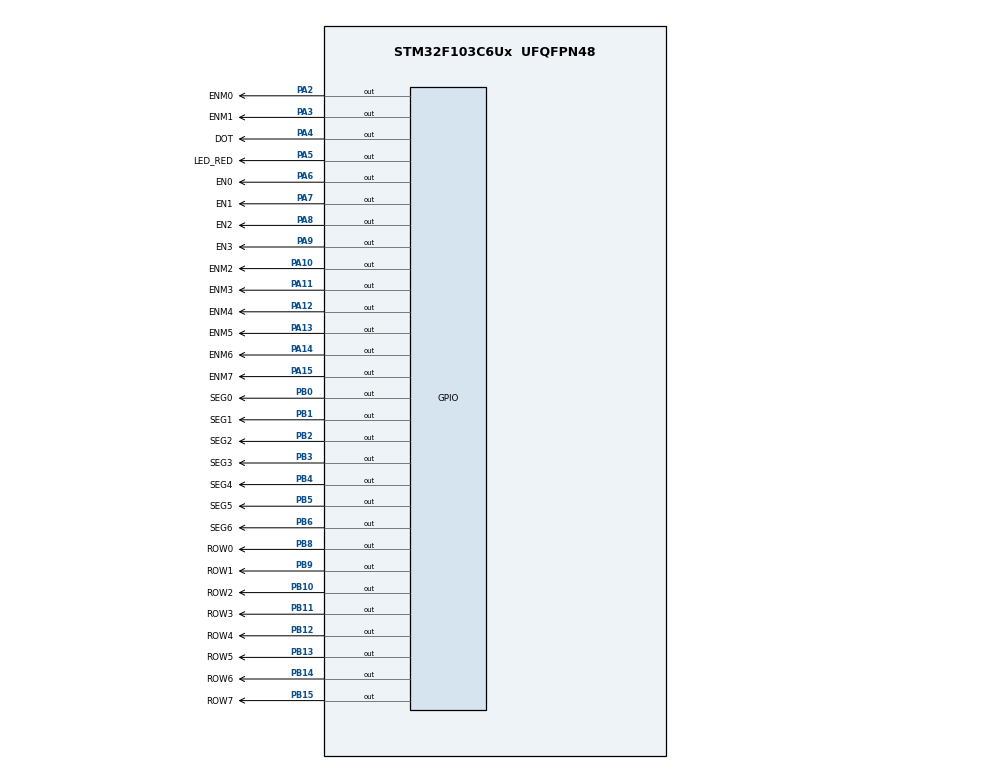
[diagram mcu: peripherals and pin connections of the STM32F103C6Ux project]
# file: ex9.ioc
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Mcu.Family=STM32F1
Mcu.Name=STM32F103C6Ux
Mcu.Package=UFQFPN48
NVIC.PriorityGroup=NVIC_PRIORITYGROUP_4
NVIC.TIM2_IRQn=true\:0\:0\:false\:false\:true\:true\:true
PA10.GPIO_Label=ENM2
PA10.Signal=GPIO_Output
PA11.GPIO_Label=ENM3
PA11.Signal=GPIO_Output
PA12.GPIO_Label=ENM4
PA12.Signal=GPIO_Output
PA13.GPIO_Label=ENM5
PA13.Signal=GPIO_Output
PA14.GPIO_Label=ENM6
PA14.Signal=GPIO_Output
PA15.GPIO_Label=ENM7
PA15.Signal=GPIO_Output
PA2.GPIO_Label=ENM0
PA2.Signal=GPIO_Output
PA3.GPIO_Label=ENM1
PA3.Signal=GPIO_Output
PA4.GPIO_Label=DOT
PA4.Signal=GPIO_Output
PA5.GPIO_Label=LED_RED
PA5.Signal=GPIO_Output
PA6.GPIO_Label=EN0
PA6.Signal=GPIO_Output
PA7.GPIO_Label=EN1
PA7.Signal=GPIO_Output
PA8.GPIO_Label=EN2
PA8.Signal=GPIO_Output
PA9.GPIO_Label=EN3
PA9.Signal=GPIO_Output
PB0.GPIO_Label=SEG0
PB0.Signal=GPIO_Output
PB1.GPIO_Label=SEG1
PB1.Signal=GPIO_Output
PB10.GPIO_Label=ROW2
PB10.Signal=GPIO_Output
PB11.GPIO_Label=ROW3
PB11.Signal=GPIO_Output
PB12.GPIO_Label=ROW4
PB12.Signal=GPIO_Output
PB13.GPIO_Label=ROW5
PB13.Signal=GPIO_Output
PB14.GPIO_Label=ROW6
PB14.Signal=GPIO_Output
PB15.GPIO_Label=ROW7
PB15.Signal=GPIO_Output
PB2.GPIO_Label=SEG2
PB2.Signal=GPIO_Output
PB3.GPIO_Label=SEG3
PB3.Signal=GPIO_Output
PB4.GPIO_Label=SEG4
PB4.Signal=GPIO_Output
PB5.GPIO_Label=SEG5
PB5.Signal=GPIO_Output
PB6.GPIO_Label=SEG6
PB6.Signal=GPIO_Output
PB8.GPIO_Label=ROW0
PB8.Signal=GPIO_Output
PB9.GPIO_Label=ROW1
PB9.Signal=GPIO_Output
ProjectManager.HeapSize=0x200
ProjectManager.StackSize=0x400
ProjectManager.TargetToolchain=STM32CubeIDE
RCC.APB1Freq_Value=8000000
RCC.APB2Freq_Value=8000000
TIM2.Period=9
TIM2.Prescaler=7999
VP_SYS_VS_ND.Mode=No_Debug
VP_TIM2_VS_ClockSourceINT.Mode=Internal
board=custom

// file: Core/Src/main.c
/* USER CODE BEGIN Header */
/**
  ******************************************************************************
  * @file           : main.c
  * @brief          : Main program body
  ******************************************************************************
  * @attention
  *
  * <h2><center>&copy; Copyright (c) 2026 STMicroelectronics.
  * All rights reserved.</center></h2>
  *
  * This software component is licensed by ST under BSD 3-Clause license,
  * the "License"; You may not use this file except in compliance with the
  * License. You may obtain a copy of the License at:
  *                        opensource.org/licenses/BSD-3-Clause
  *
  ******************************************************************************
  */
/* USER CODE END Header */
#include "main.h"

TIM_HandleTypeDef htim2;

void SystemClock_Config(void);
static void MX_GPIO_Init(void);
static void MX_TIM2_Init(void);

/* USER CODE BEGIN 0 */
	int timer0_counter = 0;
	int timer0_flag = 0;

	int timer1_counter = 0;
	int timer1_flag = 0;

	int timer2_counter = 0;
	int timer2_flag = 0;

	int timer3_counter = 0;
	int timer3_flag = 0;

	int TIMER_CYCLE = 10;

	void setTimer0(int duration){
		timer0_counter = duration /TIMER_CYCLE;
		timer0_flag = 0;
	}
	void timer0_run(){
		if(timer0_counter > 0){
			timer0_counter --;
			if(timer0_counter == 0) timer0_flag = 1;
		}
	}

	void setTimer1(int duration){
	    timer1_counter = duration /TIMER_CYCLE;
	    timer1_flag = 0;
	}
	void timer1_run(){
	    if(timer1_counter > 0)
	    {
	        timer1_counter--;

	        if(timer1_counter == 0)
	            timer1_flag = 1;
	    }
	}

	void setTimer2(int duration){
		timer2_counter = duration /TIMER_CYCLE;
		timer2_flag = 0;
	}
	void timer2_run(){
		if(timer2_counter > 0){
			timer2_counter --;
			if(timer2_counter == 0) timer2_flag = 1;
		}
	}

	void setTimer3(int duration){
		timer3_counter = duration /TIMER_CYCLE;
		timer3_flag = 0;
	}
	void timer3_run(){
		if(timer3_counter > 0){
			timer3_counter --;
			if(timer3_counter == 0) timer3_flag = 1;
		}
	}

  void display7SEG(int num){
	  switch(num){
          case 0:
              HAL_GPIO_WritePin(SEG0_GPIO_Port, SEG0_Pin, RESET);
              HAL_GPIO_WritePin(SEG1_GPIO_Port, SEG1_Pin, RESET);
              HAL_GPIO_WritePin(SEG2_GPIO_Port, SEG2_Pin, RESET);
              HAL_GPIO_WritePin(SEG3_GPIO_Port, SEG3_Pin, RESET);
              HAL_GPIO_WritePin(SEG4_GPIO_Port, SEG4_Pin, RESET);
              HAL_GPIO_WritePin(SEG5_GPIO_Port, SEG5_Pin, RESET);
              HAL_GPIO_WritePin(SEG6_GPIO_Port, SEG6_Pin, SET);
              break;
          case 1:
              HAL_GPIO_WritePin(SEG0_GPIO_Port, SEG0_Pin, SET);
              HAL_GPIO_WritePin(SEG1_GPIO_Port, SEG1_Pin, RESET);
              HAL_GPIO_WritePin(SEG2_GPIO_Port, SEG2_Pin, RESET);
              HAL_GPIO_WritePin(SEG3_GPIO_Port, SEG3_Pin, SET);
              HAL_GPIO_WritePin(SEG4_GPIO_Port, SEG4_Pin, SET);
              HAL_GPIO_WritePin(SEG5_GPIO_Port, SEG5_Pin, SET);
              HAL_GPIO_WritePin(SEG6_GPIO_Port, SEG6_Pin, SET);
              break;
          case 2:
              HAL_GPIO_WritePin(SEG0_GPIO_Port, SEG0_Pin, RESET);
              HAL_GPIO_WritePin(SEG1_GPIO_Port, SEG1_Pin, RESET);
              HAL_GPIO_WritePin(SEG2_GPIO_Port, SEG2_Pin, SET);
              HAL_GPIO_WritePin(SEG3_GPIO_Port, SEG3_Pin, RESET);
              HAL_GPIO_WritePin(SEG4_GPIO_Port, SEG4_Pin, RESET);
              HAL_GPIO_WritePin(SEG5_GPIO_Port, SEG5_Pin, SET);
              HAL_GPIO_WritePin(SEG6_GPIO_Port, SEG6_Pin, RESET);
              break;
          case 3:
              HAL_GPIO_WritePin(SEG0_GPIO_Port, SEG0_Pin, RESET);
              HAL_GPIO_WritePin(SEG1_GPIO_Port, SEG1_Pin, RESET);
              HAL_GPIO_WritePin(SEG2_GPIO_Port, SEG2_Pin, RESET);
              HAL_GPIO_WritePin(SEG3_GPIO_Port, SEG3_Pin, RESET);
              HAL_GPIO_WritePin(SEG4_GPIO_Port, SEG4_Pin, SET);
              HAL_GPIO_WritePin(SEG5_GPIO_Port, SEG5_Pin, SET);
              HAL_GPIO_WritePin(SEG6_GPIO_Port, SEG6_Pin, RESET);
              break;
          case 4:
              HAL_GPIO_WritePin(SEG0_GPIO_Port, SEG0_Pin, SET);
              HAL_GPIO_WritePin(SEG1_GPIO_Port, SEG1_Pin, RESET);
              HAL_GPIO_WritePin(SEG2_GPIO_Port, SEG2_Pin, RESET);
              HAL_GPIO_WritePin(SEG3_GPIO_Port, SEG3_Pin, SET);
              HAL_GPIO_WritePin(SEG4_GPIO_Port, SEG4_Pin, SET);
              HAL_GPIO_WritePin(SEG5_GPIO_Port, SEG5_Pin, RESET);
              HAL_GPIO_WritePin(SEG6_GPIO_Port, SEG6_Pin, RESET);
              break;
          case 5:
              HAL_GPIO_WritePin(SEG0_GPIO_Port, SEG0_Pin, RESET);
              HAL_GPIO_WritePin(SEG1_GPIO_Port, SEG1_Pin, SET);
              HAL_GPIO_WritePin(SEG2_GPIO_Port, SEG2_Pin, RESET);
              HAL_GPIO_WritePin(SEG3_GPIO_Port, SEG3_Pin, RESET);
              HAL_GPIO_WritePin(SEG4_GPIO_Port, SEG4_Pin, SET);
              HAL_GPIO_WritePin(SEG5_GPIO_Port, SEG5_Pin, RESET);
              HAL_GPIO_WritePin(SEG6_GPIO_Port, SEG6_Pin, RESET);
              break;
          case 6:
              HAL_GPIO_WritePin(SEG0_GPIO_Port, SEG0_Pin, RESET);
              HAL_GPIO_WritePin(SEG1_GPIO_Port, SEG1_Pin, SET);
              HAL_GPIO_WritePin(SEG2_GPIO_Port, SEG2_Pin, RESET);
              HAL_GPIO_WritePin(SEG3_GPIO_Port, SEG3_Pin, RESET);
              HAL_GPIO_WritePin(SEG4_GPIO_Port, SEG4_Pin, RESET);
              HAL_GPIO_WritePin(SEG5_GPIO_Port, SEG5_Pin, RESET);
              HAL_GPIO_WritePin(SEG6_GPIO_Port, SEG6_Pin, RESET);
              break;
          case 7:
              HAL_GPIO_WritePin(SEG0_GPIO_Port, SEG0_Pin, RESET);
              HAL_GPIO_WritePin(SEG1_GPIO_Port, SEG1_Pin, RESET);
              HAL_GPIO_WritePin(SEG2_GPIO_Port, SEG2_Pin, RESET);
              HAL_GPIO_WritePin(SEG3_GPIO_Port, SEG3_Pin, SET);
              HAL_GPIO_WritePin(SEG4_GPIO_Port, SEG4_Pin, SET);
              HAL_GPIO_WritePin(SEG5_GPIO_Port, SEG5_Pin, SET);
              HAL_GPIO_WritePin(SEG6_GPIO_Port, SEG6_Pin, SET);
              break;
          case 8:
              HAL_GPIO_WritePin(SEG0_GPIO_Port, SEG0_Pin, RESET);
              HAL_GPIO_WritePin(SEG1_GPIO_Port, SEG1_Pin, RESET);
              HAL_GPIO_WritePin(SEG2_GPIO_Port, SEG2_Pin, RESET);
              HAL_GPIO_WritePin(SEG3_GPIO_Port, SEG3_Pin, RESET);
              HAL_GPIO_WritePin(SEG4_GPIO_Port, SEG4_Pin, RESET);
              HAL_GPIO_WritePin(SEG5_GPIO_Port, SEG5_Pin, RESET);
              HAL_GPIO_WritePin(SEG6_GPIO_Port, SEG6_Pin, RESET);
              break;
          case 9:
              HAL_GPIO_WritePin(SEG0_GPIO_Port, SEG0_Pin, RESET);
              HAL_GPIO_WritePin(SEG1_GPIO_Port, SEG1_Pin, RESET);
              HAL_GPIO_WritePin(SEG2_GPIO_Port, SEG2_Pin, RESET);
              HAL_GPIO_WritePin(SEG3_GPIO_Port, SEG3_Pin, RESET);
              HAL_GPIO_WritePin(SEG4_GPIO_Port, SEG4_Pin, SET);
              HAL_GPIO_WritePin(SEG5_GPIO_Port, SEG5_Pin, RESET);
              HAL_GPIO_WritePin(SEG6_GPIO_Port, SEG6_Pin, RESET);
              break;
          default:
              HAL_GPIO_WritePin(SEG0_GPIO_Port, SEG0_Pin, SET);
              HAL_GPIO_WritePin(SEG1_GPIO_Port, SEG1_Pin, SET);
              HAL_GPIO_WritePin(SEG2_GPIO_Port, SEG2_Pin, SET);
              HAL_GPIO_WritePin(SEG3_GPIO_Port, SEG3_Pin, SET);
              HAL_GPIO_WritePin(SEG4_GPIO_Port, SEG4_Pin, SET);
              HAL_GPIO_WritePin(SEG5_GPIO_Port, SEG5_Pin, SET);
              HAL_GPIO_WritePin(SEG6_GPIO_Port, SEG6_Pin, SET);
              break;
      }
  }

  const int MAX_LED = 4;
  int led_buffer[4] = {1, 0, 3, 7};
  void update7SEG(int index){
	  switch (index){
	  	  case 0:
	  		  //Display the first 7SEG with led_buffer[0]
	  		  HAL_GPIO_WritePin(EN0_GPIO_Port, EN0_Pin, SET);
	  		  HAL_GPIO_WritePin(EN1_GPIO_Port, EN1_Pin, SET);
	  		  HAL_GPIO_WritePin(EN2_GPIO_Port, EN2_Pin, SET);
	  		  HAL_GPIO_WritePin(EN3_GPIO_Port, EN3_Pin, SET);

	  		  display7SEG(led_buffer[0]);

	  		  HAL_GPIO_WritePin(EN0_GPIO_Port, EN0_Pin, RESET);

	  		  break;
	  	  case 1:
	  		  //Display the first 7SEG with led_buffer[1]
	  		  HAL_GPIO_WritePin(EN0_GPIO_Port, EN0_Pin, SET);
	  		  HAL_GPIO_WritePin(EN1_GPIO_Port, EN1_Pin, SET);
	  		  HAL_GPIO_WritePin(EN2_GPIO_Port, EN2_Pin, SET);
	  		  HAL_GPIO_WritePin(EN3_GPIO_Port, EN3_Pin, SET);

	  		  display7SEG(led_buffer[1]);
	  		  HAL_GPIO_WritePin(EN1_GPIO_Port, EN1_Pin, RESET);
	  		  break;
	  	  case 2:
	  		  //Display the first 7SEG with led_buffer[2]
	  		  HAL_GPIO_WritePin(EN0_GPIO_Port, EN0_Pin, SET);
	  		  HAL_GPIO_WritePin(EN1_GPIO_Port, EN1_Pin, SET);
	  		  HAL_GPIO_WritePin(EN2_GPIO_Port, EN2_Pin, SET);
	  		  HAL_GPIO_WritePin(EN3_GPIO_Port, EN3_Pin, SET);

	  		  display7SEG(led_buffer[2]);
	  		  HAL_GPIO_WritePin(EN2_GPIO_Port, EN2_Pin, RESET);
	  		  break;
	  	  case 3:
	  		  //Display the first 7SEG with led_buffer[3]
	  		  HAL_GPIO_WritePin(EN0_GPIO_Port, EN0_Pin, SET);
	  		  HAL_GPIO_WritePin(EN1_GPIO_Port, EN1_Pin, SET);
	  		  HAL_GPIO_WritePin(EN2_GPIO_Port, EN2_Pin, SET);
	  		  HAL_GPIO_WritePin(EN3_GPIO_Port, EN3_Pin, SET);

	  		  display7SEG(led_buffer[3]);
	  		  HAL_GPIO_WritePin(EN3_GPIO_Port, EN3_Pin, RESET);
	  		  break;
	  	  default:
	  		  break;
	  }
  }

  void updateClockBuffer(int hour, int minute) {
  	led_buffer[0] = hour / 10;
  	led_buffer[1] = hour % 10;
  	led_buffer[2] = minute / 10;
  	led_buffer[3] = minute % 10;
  }

  const int MAX_LED_MATRIX = 8;
  uint8_t matrix_buffer[8] = {0xFC, 0x12, 0x11, 0x11, 0x11, 0x11, 0x12, 0xFC};
  void updateLEDMatrix(int index){
	  HAL_GPIO_WritePin(ENM0_GPIO_Port, ENM0_Pin, RESET);//SET is ON b/c of ULN2803 NPN transistor array (ULN channel)
	  HAL_GPIO_WritePin(ENM1_GPIO_Port, ENM1_Pin, RESET);
	  HAL_GPIO_WritePin(ENM2_GPIO_Port, ENM2_Pin, RESET);
	  HAL_GPIO_WritePin(ENM3_GPIO_Port, ENM3_Pin, RESET);
	  HAL_GPIO_WritePin(ENM4_GPIO_Port, ENM4_Pin, RESET);
	  HAL_GPIO_WritePin(ENM5_GPIO_Port, ENM5_Pin, RESET);
	  HAL_GPIO_WritePin(ENM6_GPIO_Port, ENM6_Pin, RESET);
	  HAL_GPIO_WritePin(ENM7_GPIO_Port, ENM7_Pin, RESET);

	  //col
	  switch(index){
	  	  case 0:
	  		  HAL_GPIO_WritePin(ENM0_GPIO_Port, ENM0_Pin, SET);
	  		  break;
	  	  case 1:
	  		  HAL_GPIO_WritePin(ENM1_GPIO_Port, ENM1_Pin, SET);
	  		  break;
	  	  case 2:
	          HAL_GPIO_WritePin(ENM2_GPIO_Port, ENM2_Pin, SET);
	  		  break;
	  	  case 3:
	  		  HAL_GPIO_WritePin(ENM3_GPIO_Port, ENM3_Pin, SET);
	  		  break;
	  	  case 4:
	  		  HAL_GPIO_WritePin(ENM4_GPIO_Port, ENM4_Pin, SET);
	  		  break;
	  	  case 5:
	  		  HAL_GPIO_WritePin(ENM5_GPIO_Port, ENM5_Pin, SET);
	  		  break;
	  	  case 6:
	  		  HAL_GPIO_WritePin(ENM6_GPIO_Port, ENM6_Pin, SET);
	  		  break;
	  	  case 7:
	  		  HAL_GPIO_WritePin(ENM7_GPIO_Port, ENM7_Pin, SET);
	  		  break;
	  	  default:
	  		  break;
	  }

	  //row of that col
	  HAL_GPIO_WritePin(ROW0_GPIO_Port, ROW0_Pin, (matrix_buffer[index] & 0x01) ? SET : RESET);//and with bit 1
	  HAL_GPIO_WritePin(ROW1_GPIO_Port, ROW1_Pin, (matrix_buffer[index] & 0x02) ? SET : RESET);
	  HAL_GPIO_WritePin(ROW2_GPIO_Port, ROW2_Pin, (matrix_buffer[index] & 0x04) ? SET : RESET);
	  HAL_GPIO_WritePin(ROW3_GPIO_Port, ROW3_Pin, (matrix_buffer[index] & 0x08) ? SET : RESET);
	  HAL_GPIO_WritePin(ROW4_GPIO_Port, ROW4_Pin, (matrix_buffer[index] & 0x10) ? SET : RESET);
	  HAL_GPIO_WritePin(ROW5_GPIO_Port, ROW5_Pin, (matrix_buffer[index] & 0x20) ? SET : RESET);
	  HAL_GPIO_WritePin(ROW6_GPIO_Port, ROW6_Pin, (matrix_buffer[index] & 0x40) ? SET : RESET);
	  HAL_GPIO_WritePin(ROW7_GPIO_Port, ROW7_Pin, (matrix_buffer[index] & 0x80) ? SET : RESET);
  }

  void shiftMatrixLeft(){
	  uint8_t temp = matrix_buffer[7];//for looping
      for(int i = 7; i > 0; i--){
          matrix_buffer[i] = matrix_buffer[i - 1];
      }
      matrix_buffer[0] = temp;
  }

/* USER CODE END 0 */

int main(void)
{

  /* MCU Configuration--------------------------------------------------------*/

  /* Reset of all peripherals, Initializes the Flash interface and the Systick. */
  HAL_Init();

  /* Configure the system clock */
  SystemClock_Config();

  /* Initialize all configured peripherals */
  MX_GPIO_Init();
  MX_TIM2_Init();
  /* USER CODE BEGIN 2 */
  HAL_TIM_Base_Start_IT(&htim2);

  /* USER CODE END 2 */

  /* Infinite loop */
  /* USER CODE BEGIN WHILE */
  int hour = 10, minute = 37, second = 50;

  int index_led = 0;
  int index_led_matrix = 0;//col

  setTimer0(1000);
  setTimer1(250);
  setTimer2(10);//10ms
  setTimer3(250);

  while (1)
  {
	  if(timer1_flag == 1){
		  timer1_flag = 0;
		  update7SEG(index_led);
	      index_led++;

	      if(index_led >= MAX_LED){
	    	  index_led = 0;
	      }
	      setTimer1(250);
	  }

	  if(timer2_flag == 1){
		  timer2_flag = 0;
		  updateLEDMatrix(index_led_matrix);
		  index_led_matrix++;

	      if(index_led_matrix >= MAX_LED_MATRIX){
	    	  index_led_matrix = 0;
	      }
	      setTimer2(10);
	  }
	  if(timer3_flag == 1){
		  timer3_flag = 0;
		  shiftMatrixLeft();
		  setTimer3(250);
	  }

	  if(timer0_flag == 1){
		  timer0_flag = 0;
		  second++;

		  if (second >= 60){
			  second = 0;
			  minute++;
		  }
		  if(minute >= 60){
			  minute = 0;
			  hour++;
		  }
		  if(hour >=24){
			  hour = 0;
		  }
	      updateClockBuffer(hour, minute);
	      HAL_GPIO_TogglePin(DOT_GPIO_Port, DOT_Pin);
	      setTimer0(1000);
	  }
    /* USER CODE END WHILE */

  }
}

void SystemClock_Config(void)
{
  RCC_OscInitTypeDef RCC_OscInitStruct = {0};
  RCC_ClkInitTypeDef RCC_ClkInitStruct = {0};

  /** Initializes the RCC Oscillators according to the specified parameters
  * in the RCC_OscInitTypeDef structure.
  */
  RCC_OscInitStruct.OscillatorType = RCC_OSCILLATORTYPE_HSI;
  RCC_OscInitStruct.HSIState = RCC_HSI_ON;
  RCC_OscInitStruct.HSICalibrationValue = RCC_HSICALIBRATION_DEFAULT;
  RCC_OscInitStruct.PLL.PLLState = RCC_PLL_NONE;
  if (HAL_RCC_OscConfig(&RCC_OscInitStruct) != HAL_OK)
  {
    Error_Handler();
  }
  /** Initializes the CPU, AHB and APB buses clocks
  */
  RCC_ClkInitStruct.ClockType = RCC_CLOCKTYPE_HCLK|RCC_CLOCKTYPE_SYSCLK
                              |RCC_CLOCKTYPE_PCLK1|RCC_CLOCKTYPE_PCLK2;
  RCC_ClkInitStruct.SYSCLKSource = RCC_SYSCLKSOURCE_HSI;
  RCC_ClkInitStruct.AHBCLKDivider = RCC_SYSCLK_DIV1;
  RCC_ClkInitStruct.APB1CLKDivider = RCC_HCLK_DIV1;
  RCC_ClkInitStruct.APB2CLKDivider = RCC_HCLK_DIV1;

  if (HAL_RCC_ClockConfig(&RCC_ClkInitStruct, FLASH_LATENCY_0) != HAL_OK)
  {
    Error_Handler();
  }
}

static void MX_TIM2_Init(void)
{

  TIM_ClockConfigTypeDef sClockSourceConfig = {0};
  TIM_MasterConfigTypeDef sMasterConfig = {0};

  htim2.Instance = TIM2;
  htim2.Init.Prescaler = 7999;
  htim2.Init.CounterMode = TIM_COUNTERMODE_UP;
  htim2.Init.Period = 9;
  htim2.Init.ClockDivision = TIM_CLOCKDIVISION_DIV1;
  htim2.Init.AutoReloadPreload = TIM_AUTORELOAD_PRELOAD_DISABLE;
  if (HAL_TIM_Base_Init(&htim2) != HAL_OK)
  {
    Error_Handler();
  }
  sClockSourceConfig.ClockSource = TIM_CLOCKSOURCE_INTERNAL;
  if (HAL_TIM_ConfigClockSource(&htim2, &sClockSourceConfig) != HAL_OK)
  {
    Error_Handler();
  }
  sMasterConfig.MasterOutputTrigger = TIM_TRGO_RESET;
  sMasterConfig.MasterSlaveMode = TIM_MASTERSLAVEMODE_DISABLE;
  if (HAL_TIMEx_MasterConfigSynchronization(&htim2, &sMasterConfig) != HAL_OK)
  {
    Error_Handler();
  }

}

static void MX_GPIO_Init(void)
{
  GPIO_InitTypeDef GPIO_InitStruct = {0};

  /* GPIO Ports Clock Enable */
  __HAL_RCC_GPIOA_CLK_ENABLE();
  __HAL_RCC_GPIOB_CLK_ENABLE();

  /*Configure GPIO pin Output Level */
  HAL_GPIO_WritePin(GPIOA, ENM0_Pin|ENM1_Pin|DOT_Pin|LED_RED_Pin
                          |EN0_Pin|EN1_Pin|EN2_Pin|EN3_Pin
                          |ENM2_Pin|ENM3_Pin|ENM4_Pin|ENM5_Pin
                          |ENM6_Pin|ENM7_Pin, GPIO_PIN_RESET);

  /*Configure GPIO pin Output Level */
  HAL_GPIO_WritePin(GPIOB, SEG0_Pin|SEG1_Pin|SEG2_Pin|ROW2_Pin
                          |ROW3_Pin|ROW4_Pin|ROW5_Pin|ROW6_Pin
                          |ROW7_Pin|SEG3_Pin|SEG4_Pin|SEG5_Pin
                          |SEG6_Pin|ROW0_Pin|ROW1_Pin, GPIO_PIN_RESET);

  /*Configure GPIO pins : ENM0_Pin ENM1_Pin DOT_Pin LED_RED_Pin
                           EN0_Pin EN1_Pin EN2_Pin EN3_Pin
                           ENM2_Pin ENM3_Pin ENM4_Pin ENM5_Pin
                           ENM6_Pin ENM7_Pin */
  GPIO_InitStruct.Pin = ENM0_Pin|ENM1_Pin|DOT_Pin|LED_RED_Pin
                          |EN0_Pin|EN1_Pin|EN2_Pin|EN3_Pin
                          |ENM2_Pin|ENM3_Pin|ENM4_Pin|ENM5_Pin
                          |ENM6_Pin|ENM7_Pin;
  GPIO_InitStruct.Mode = GPIO_MODE_OUTPUT_PP;
  GPIO_InitStruct.Pull = GPIO_NOPULL;
  GPIO_InitStruct.Speed = GPIO_SPEED_FREQ_LOW;
  HAL_GPIO_Init(GPIOA, &GPIO_InitStruct);

  /*Configure GPIO pins : SEG0_Pin SEG1_Pin SEG2_Pin ROW2_Pin
                           ROW3_Pin ROW4_Pin ROW5_Pin ROW6_Pin
                           ROW7_Pin SEG3_Pin SEG4_Pin SEG5_Pin
                           SEG6_Pin ROW0_Pin ROW1_Pin */
  GPIO_InitStruct.Pin = SEG0_Pin|SEG1_Pin|SEG2_Pin|ROW2_Pin
                          |ROW3_Pin|ROW4_Pin|ROW5_Pin|ROW6_Pin
                          |ROW7_Pin|SEG3_Pin|SEG4_Pin|SEG5_Pin
                          |SEG6_Pin|ROW0_Pin|ROW1_Pin;
  GPIO_InitStruct.Mode = GPIO_MODE_OUTPUT_PP;
  GPIO_InitStruct.Pull = GPIO_NOPULL;
  GPIO_InitStruct.Speed = GPIO_SPEED_FREQ_LOW;
  HAL_GPIO_Init(GPIOB, &GPIO_InitStruct);

}

/* USER CODE BEGIN 4 */
void HAL_TIM_PeriodElapsedCallback(TIM_HandleTypeDef *htim){
    timer0_run();
    timer1_run();
    timer2_run();
    timer3_run();
}
/* USER CODE END 4 */

void Error_Handler(void)
{
  __disable_irq();
  while (1)
  {
  }
}

/************************ (C) COPYRIGHT STMicroelectronics *****END OF FILE****/
